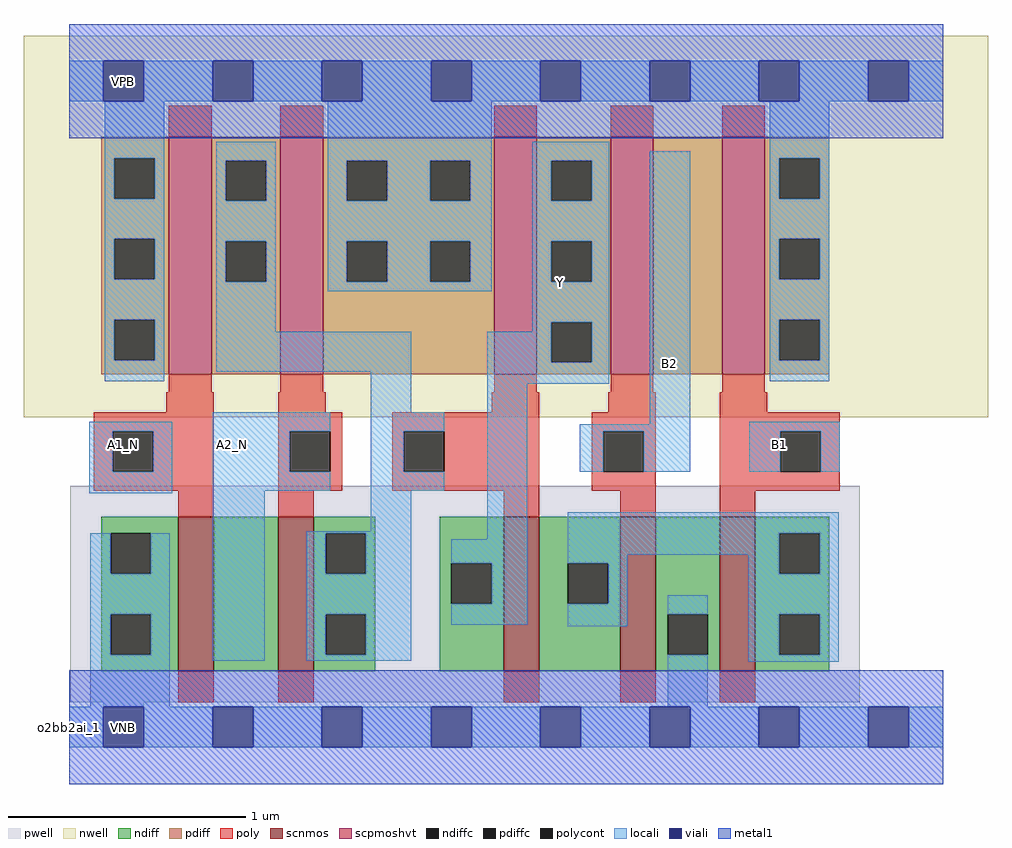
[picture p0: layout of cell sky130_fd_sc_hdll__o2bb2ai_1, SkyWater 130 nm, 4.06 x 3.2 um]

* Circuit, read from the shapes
.subckt sky130_fd_sc_hdll__o2bb2ai_1 A1_N A2_N B1 B2 VGND VNB VPB VPWR Y
XM1 n1 A1_N VGND VNB sky130_fd_pr__nfet_01v8 w=0.65 l=0.15
XM2 n2 A2_N n1 VNB sky130_fd_pr__nfet_01v8 w=0.65 l=0.15
XM3 n3 n2 Y VNB sky130_fd_pr__nfet_01v8 w=0.65 l=0.15
XM4 VGND B2 n3 VNB sky130_fd_pr__nfet_01v8 w=0.65 l=0.15
XM5 n3 B1 VGND VNB sky130_fd_pr__nfet_01v8 w=0.65 l=0.15
XM6 n2 A1_N VPWR VPB sky130_fd_pr__pfet_01v8_hvt w=1 l=0.18
XM7 VPWR A2_N n2 VPB sky130_fd_pr__pfet_01v8_hvt w=1 l=0.18
XM8 Y n2 VPWR VPB sky130_fd_pr__pfet_01v8_hvt w=1 l=0.18
XM9 n4 B2 Y VPB sky130_fd_pr__pfet_01v8_hvt w=1 l=0.18
XM10 VPWR B1 n4 VPB sky130_fd_pr__pfet_01v8_hvt w=1 l=0.18
.ends

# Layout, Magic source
magic
tech sky130A
magscale 1 2
<< nwell >>
rect -38 261 774 582
<< pwell >>
rect 1 21 666 203
rect 29 -17 63 21
<< scnmos >>
rect 92 47 122 177
rect 176 47 206 177
rect 366 47 396 177
rect 464 47 494 177
rect 548 47 578 177
<< scpmoshvt >>
rect 84 297 120 497
rect 178 297 214 497
rect 358 297 394 497
rect 456 297 492 497
rect 550 297 586 497
<< ndiff >>
rect 27 163 92 177
rect 27 129 35 163
rect 69 129 92 163
rect 27 95 92 129
rect 27 61 35 95
rect 69 61 92 95
rect 27 47 92 61
rect 122 47 176 177
rect 206 163 258 177
rect 206 129 216 163
rect 250 129 258 163
rect 206 95 258 129
rect 206 61 216 95
rect 250 61 258 95
rect 206 47 258 61
rect 312 138 366 177
rect 312 104 322 138
rect 356 104 366 138
rect 312 47 366 104
rect 396 138 464 177
rect 396 104 420 138
rect 454 104 464 138
rect 396 47 464 104
rect 494 95 548 177
rect 494 61 504 95
rect 538 61 548 95
rect 494 47 548 61
rect 578 163 640 177
rect 578 129 598 163
rect 632 129 640 163
rect 578 95 640 129
rect 578 61 598 95
rect 632 61 640 95
rect 578 47 640 61
<< pdiff >>
rect 27 479 84 497
rect 27 445 38 479
rect 72 445 84 479
rect 27 411 84 445
rect 27 377 38 411
rect 72 377 84 411
rect 27 343 84 377
rect 27 309 38 343
rect 72 309 84 343
rect 27 297 84 309
rect 120 477 178 497
rect 120 443 132 477
rect 166 443 178 477
rect 120 409 178 443
rect 120 375 132 409
rect 166 375 178 409
rect 120 297 178 375
rect 214 477 358 497
rect 214 443 234 477
rect 268 443 304 477
rect 338 443 358 477
rect 214 409 358 443
rect 214 375 234 409
rect 268 375 304 409
rect 338 375 358 409
rect 214 297 358 375
rect 394 477 456 497
rect 394 443 406 477
rect 440 443 456 477
rect 394 409 456 443
rect 394 375 406 409
rect 440 375 456 409
rect 394 341 456 375
rect 394 307 406 341
rect 440 307 456 341
rect 394 297 456 307
rect 492 297 550 497
rect 586 479 640 497
rect 586 445 598 479
rect 632 445 640 479
rect 586 411 640 445
rect 586 377 598 411
rect 632 377 640 411
rect 586 343 640 377
rect 586 309 598 343
rect 632 309 640 343
rect 586 297 640 309
<< ndiffc >>
rect 35 129 69 163
rect 35 61 69 95
rect 216 129 250 163
rect 216 61 250 95
rect 322 104 356 138
rect 420 104 454 138
rect 504 61 538 95
rect 598 129 632 163
rect 598 61 632 95
<< pdiffc >>
rect 38 445 72 479
rect 38 377 72 411
rect 38 309 72 343
rect 132 443 166 477
rect 132 375 166 409
rect 234 443 268 477
rect 304 443 338 477
rect 234 375 268 409
rect 304 375 338 409
rect 406 443 440 477
rect 406 375 440 409
rect 406 307 440 341
rect 598 445 632 479
rect 598 377 632 411
rect 598 309 632 343
<< poly >>
rect 84 497 120 523
rect 178 497 214 523
rect 358 497 394 523
rect 456 497 492 523
rect 550 497 586 523
rect 84 282 120 297
rect 178 282 214 297
rect 358 282 394 297
rect 456 282 492 297
rect 550 282 586 297
rect 82 265 122 282
rect 21 249 122 265
rect 21 215 37 249
rect 71 215 122 249
rect 21 199 122 215
rect 92 177 122 199
rect 176 265 216 282
rect 356 265 396 282
rect 454 265 494 282
rect 176 249 230 265
rect 176 215 186 249
rect 220 215 230 249
rect 176 199 230 215
rect 272 249 396 265
rect 272 215 282 249
rect 316 215 396 249
rect 272 199 396 215
rect 440 249 494 265
rect 440 215 450 249
rect 484 215 494 249
rect 440 199 494 215
rect 176 177 206 199
rect 366 177 396 199
rect 464 177 494 199
rect 548 265 588 282
rect 548 249 649 265
rect 548 215 599 249
rect 633 215 649 249
rect 548 199 649 215
rect 548 177 578 199
rect 92 21 122 47
rect 176 21 206 47
rect 366 21 396 47
rect 464 21 494 47
rect 548 21 578 47
<< polycont >>
rect 37 215 71 249
rect 186 215 220 249
rect 282 215 316 249
rect 450 215 484 249
rect 599 215 633 249
<< locali >>
rect 0 527 29 561
rect 63 527 121 561
rect 155 527 213 561
rect 247 527 305 561
rect 339 527 397 561
rect 431 527 489 561
rect 523 527 581 561
rect 615 527 673 561
rect 707 527 736 561
rect 30 479 80 527
rect 30 445 38 479
rect 72 445 80 479
rect 30 411 80 445
rect 30 377 38 411
rect 72 377 80 411
rect 30 343 80 377
rect 30 309 38 343
rect 72 309 80 343
rect 30 291 80 309
rect 124 477 174 493
rect 124 443 132 477
rect 166 443 174 477
rect 124 409 174 443
rect 124 375 132 409
rect 166 375 174 409
rect 124 333 174 375
rect 218 477 356 527
rect 218 443 234 477
rect 268 443 304 477
rect 338 443 356 477
rect 218 409 356 443
rect 218 375 234 409
rect 268 375 304 409
rect 338 375 356 409
rect 218 367 356 375
rect 390 477 455 493
rect 390 443 406 477
rect 440 443 455 477
rect 390 409 455 443
rect 390 375 406 409
rect 440 375 455 409
rect 390 341 455 375
rect 390 333 406 341
rect 124 299 288 333
rect 254 265 288 299
rect 352 307 406 333
rect 440 307 455 341
rect 352 289 455 307
rect 17 249 87 257
rect 17 215 37 249
rect 71 215 87 249
rect 17 197 87 215
rect 121 249 220 265
rect 121 215 186 249
rect 121 199 220 215
rect 254 249 316 265
rect 254 215 282 249
rect 254 199 316 215
rect 18 129 35 163
rect 69 129 85 163
rect 18 95 85 129
rect 18 61 35 95
rect 69 61 85 95
rect 18 17 85 61
rect 121 56 165 199
rect 254 165 288 199
rect 200 163 288 165
rect 200 129 216 163
rect 250 129 288 163
rect 352 158 386 289
rect 489 255 523 485
rect 590 479 640 527
rect 590 445 598 479
rect 632 445 640 479
rect 590 411 640 445
rect 590 377 598 411
rect 632 377 640 411
rect 590 343 640 377
rect 590 309 598 343
rect 632 309 640 343
rect 590 291 640 309
rect 430 249 523 255
rect 430 215 450 249
rect 484 215 523 249
rect 573 249 649 257
rect 573 215 599 249
rect 633 215 649 249
rect 200 95 288 129
rect 200 61 216 95
rect 250 61 288 95
rect 322 138 386 158
rect 356 104 386 138
rect 322 86 386 104
rect 420 163 648 181
rect 420 145 598 163
rect 420 138 470 145
rect 454 104 470 138
rect 572 129 598 145
rect 632 129 648 163
rect 420 85 470 104
rect 504 95 538 111
rect 200 56 288 61
rect 504 17 538 61
rect 572 95 648 129
rect 572 61 598 95
rect 632 61 648 95
rect 572 55 648 61
rect 0 -17 29 17
rect 63 -17 121 17
rect 155 -17 213 17
rect 247 -17 305 17
rect 339 -17 397 17
rect 431 -17 489 17
rect 523 -17 581 17
rect 615 -17 673 17
rect 707 -17 736 17
<< viali >>
rect 29 527 63 561
rect 121 527 155 561
rect 213 527 247 561
rect 305 527 339 561
rect 397 527 431 561
rect 489 527 523 561
rect 581 527 615 561
rect 673 527 707 561
rect 29 -17 63 17
rect 121 -17 155 17
rect 213 -17 247 17
rect 305 -17 339 17
rect 397 -17 431 17
rect 489 -17 523 17
rect 581 -17 615 17
rect 673 -17 707 17
<< metal1 >>
rect 0 561 736 592
rect 0 527 29 561
rect 63 527 121 561
rect 155 527 213 561
rect 247 527 305 561
rect 339 527 397 561
rect 431 527 489 561
rect 523 527 581 561
rect 615 527 673 561
rect 707 527 736 561
rect 0 496 736 527
rect 0 17 736 48
rect 0 -17 29 17
rect 63 -17 121 17
rect 155 -17 213 17
rect 247 -17 305 17
rect 339 -17 397 17
rect 431 -17 489 17
rect 523 -17 581 17
rect 615 -17 673 17
rect 707 -17 736 17
rect 0 -48 736 -17
<< labels >>
flabel locali s 397 357 431 391 0 FreeSans 400 0 0 0 Y
port 9 nsew signal output
flabel locali s 29 221 63 255 0 FreeSans 200 0 0 0 A1_N
port 1 nsew signal input
flabel locali s 121 221 155 255 0 FreeSans 400 0 0 0 A2_N
port 2 nsew signal input
flabel locali s 489 289 523 323 0 FreeSans 400 0 0 0 B2
port 4 nsew signal input
flabel locali s 581 221 615 255 0 FreeSans 400 0 0 0 B1
port 3 nsew signal input
flabel nwell s 29 527 63 561 0 FreeSans 200 0 0 0 VPB
port 7 nsew power bidirectional
flabel pwell s 29 -17 63 17 0 FreeSans 200 0 0 0 VNB
port 6 nsew ground bidirectional
flabel metal1 s 29 -17 63 17 0 FreeSans 200 0 0 0 VGND
port 5 nsew ground bidirectional
flabel metal1 s 29 527 63 561 0 FreeSans 200 0 0 0 VPWR
port 8 nsew power bidirectional
rlabel comment s 0 0 0 0 4 o2bb2ai_1
<< properties >>
string LEFsite unithd
string LEFclass CORE
string FIXED_BBOX 0 0 736 544
string GDS_FILE $PDKPATH/libs.ref/sky130_fd_sc_hdll/gds/sky130_fd_sc_hdll.gds
string LEFsymmetry X Y R90
string GDS_END 2566026
string GDS_START 2559584
string LEFproperties maskLayoutSubType "abstract" prCellType "standard" originalViewName "layout"
<< end >>
